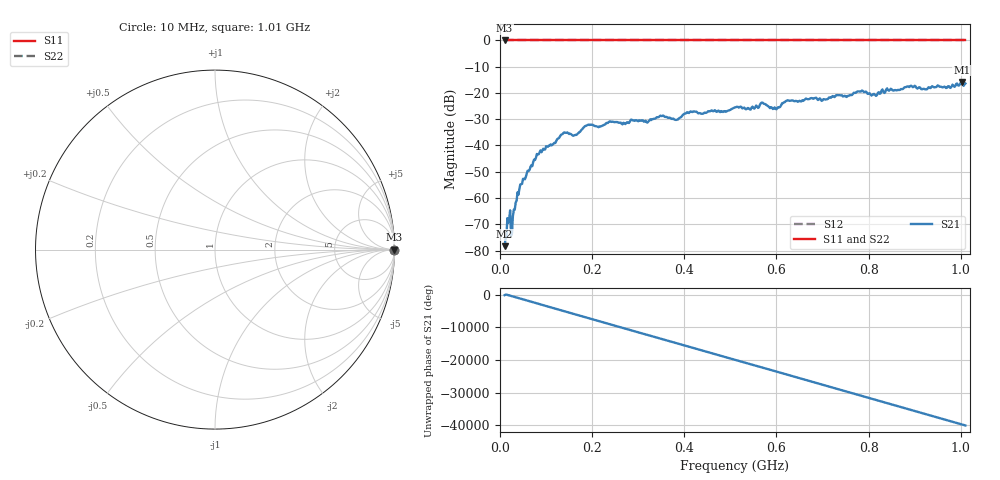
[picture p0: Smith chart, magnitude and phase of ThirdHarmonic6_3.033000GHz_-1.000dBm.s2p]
! 8/17/2025 8:45:47 AM
! C:\ANRITSUVNA\TEMP\TEMP.S2P
! CHANNEL.1
! TR.MEASUREMENT
! RAW.DATA
! RF.CORRECTION.OFF
! AVERAGING.OFF
! IF.BANDWIDTH: 5KHZ
! SWEEPTYPE:  FREQ.SWEEP(Linear)
! Reference Plane Port Info
! PORT:  PORT1  PORT2
! DISTANCE:  0  m  0  m
! TIME:  0  s  0  s
! PHASE.OFFSET:  0  deg.  0  deg.
! LOSS:  0  dB  0  dB
! REF.LOSS:  0  dB  0  dB
! REF.FREQ:  0  Hz  0  Hz
! Power Info
! POWER:  -20  dBm  -20  dBm
! EFF.POWER:  -20  dBm  -20  dBm
! SOURCE.ATTEN:  0  dB  0  dB
! TEST.ATTEN:  0  dB  0  dB
# GHZ S RI R 50.0
! FREQ.GHZ  S11RE  S11IM  S21RE  S21IM  S12RE  S12IM  S22RE  S22IM
!; PortSelection: Port_12
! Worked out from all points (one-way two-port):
!   501 points, 10 MHz to 1.01 GHz, reference 50 ohm
!   highest |S21| = -15.81 dB at 1.002 GHz (marker M1); lowest = -78.3 dB at 10 MHz (marker M2)
!   lowest |S11| = 0.0 dB at 10 MHz (marker M3)
!   |S11| at or under -10 dB: nowhere
!   |S22| runs from 0.0 to 0.0 dB; largest |S21 - S12| = 1.1
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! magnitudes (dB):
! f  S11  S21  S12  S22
! 10 MHz  0.0  -78.3  0.0  0.0
! 18 MHz  0.0  -69.5  0.0  0.0
! 28 MHz  0.0  -66.9  0.0  0.0
! 34 MHz  0.0  -61.7  0.0  0.0
! 46 MHz  0.0  -54.7  0.0  0.0
! 84 MHz  0.0  -43.3  0.0  0.0
! 136 MHz  0.0  -35.7  0.0  0.0
! 162 MHz  0.0  -36.1  0.0  0.0
! 178 MHz  0.0  -33.9  0.0  0.0
! 344 MHz  0.0  -29.2  0.0  0.0
! 382 MHz  0.0  -30.3  0.0  0.0
! 410 MHz  0.0  -27.6  0.0  0.0
! 510 MHz  0.0  -25.5  0.0  0.0
! 570 MHz  0.0  -23.7  0.0  0.0
! 596 MHz  0.0  -25.5  0.0  0.0
! 624 MHz  0.0  -22.8  0.0  0.0
! 678 MHz  0.0  -22.0  0.0  0.0
! 782 MHz  0.0  -19.5  0.0  0.0
! 814 MHz  0.0  -20.7  0.0  0.0
! 844 MHz  0.0  -19.1  0.0  0.0
! 1.002 GHz  0.0  -15.8  0.0  0.0
! 1.01 GHz  0.0  -16.4  0.0  0.0
